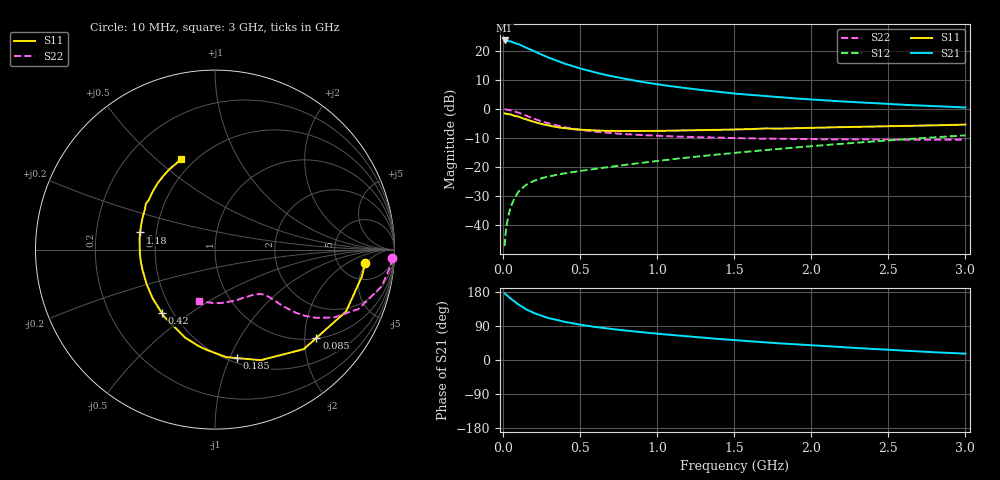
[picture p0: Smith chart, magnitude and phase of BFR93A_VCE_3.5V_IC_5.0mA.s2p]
! Infineon Technologies  Discrete & RF Semiconductors
! BFR93A
! VCE =  3.5 V,  IC =  5.0 mA
! Common Emitter S-Parameters:  Nov 2015
# GHz  S  MA  R  50
!  f  S11  S21  S12  S22
! GHz  MAG  ANG  MAG  ANG  MAG  ANG  MAG  ANG
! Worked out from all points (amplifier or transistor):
!   180 points, 10 MHz to 3 GHz, reference 50 ohm
!   highest |S21| = 23.5 dB at 10 MHz (marker M1)
!   |S21| within 3 dB of that: start of sweep to 172.4 MHz
!   unconditionally stable (mu >= 1): 753.2 MHz to 2.779 GHz
!   at 160 MHz: K = 0.34, MSG = 23.3 dB, |S12| = -25.8 dB
!   at 1.22 GHz: K = 1.12, MAG = 9.6 dB, |S12| = -16.6 dB
!   at 3 GHz: K = 0.97, MSG = 4.8 dB, |S12| = -9.1 dB
!   S11 on the Smith chart (normalised r, x): 10 MHz: 9, -5; 85 MHz: 1.02, -2.28; 185 MHz: 0.55, -1.06; 420 MHz: 0.44, -0.39; 1.18 GHz: 0.40, +0.09; 3 GHz: 0.42, +0.60
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0.01  0.8392 -5.2  15.03 176.0  0.0044 87.6  0.9882 -2.6
0.02  0.8326 -10.2  14.95 172.3  0.0088 84.2  0.9835 -5.1
0.05  0.8076 -25.3  14.44 161.5  0.0209 77.3  0.9511 -12.4
0.085  0.7491 -41.0  13.35 151.2  0.0327 68.6  0.8877 -19.3
0.1  0.7429 -48.3  13.02 146.3  0.0379 66.5  0.8648 -22.5
0.15  0.6669 -67.5  11.34 133.6  0.0498 58.9  0.7661 -29.5
0.185  0.6161 -78.7  10.27 127.1  0.0557 55.5  0.7069 -32.5
0.2  0.6024 -84.0  9.857 123.9  0.0583 54.3  0.6822 -33.9
0.24  0.5609 -94.7  8.815 117.8  0.0634 51.8  0.6265 -36.2
0.26  0.5451 -99.7  8.362 114.9  0.0657 50.9  0.602 -37.1
0.3  0.5182 -108.7  7.55 110.0  0.0697 49.8  0.5594 -38.3
0.4  0.4685 -127.4  6 100.4  0.0785 48.8  0.4841 -39.9
0.42  0.4607 -130.1  5.787 99.2  0.08 48.9  0.4748 -40.0
0.52  0.4368 -144.1  4.814 92.0  0.0877 49.4  0.4313 -40.7
0.7  0.4206 -161.9  3.673 81.9  0.1022 51.4  0.3846 -41.9
0.9  0.4193 -177.2  2.918 73.3  0.1189 53.5  0.3557 -44.1
1.02  0.421 175.6  2.608 68.6  0.1297 54.3  0.3452 -45.9
1.18  0.4285 167.1  2.295 62.9  0.1448 55.2  0.3327 -49.0
1.52  0.445 153.2  1.823 51.9  0.1782 55.9  0.3156 -56.9
2.02  0.4756 136.4  1.444 38.2  0.2319 54.7  0.3031 -71.2
2.52  0.5071 122.7  1.213 26.6  0.2911 51.1  0.2984 -87.9
3  0.5396 110.6  1.061 16.7  0.3518 46.4  0.2992 -107.4
